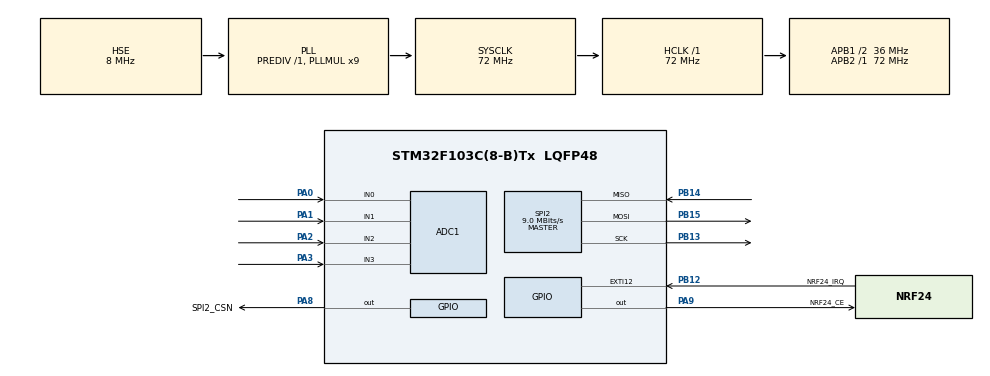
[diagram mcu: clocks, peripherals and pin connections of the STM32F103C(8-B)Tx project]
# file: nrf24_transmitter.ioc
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ADC1.Channel-0\#ChannelRegularConversion=ADC_CHANNEL_0
ADC1.Channel-1\#ChannelRegularConversion=ADC_CHANNEL_1
ADC1.Channel-2\#ChannelRegularConversion=ADC_CHANNEL_2
ADC1.Channel-3\#ChannelRegularConversion=ADC_CHANNEL_3
ADC1.ContinuousConvMode=DISABLE
ADC1.ExternalTrigConv=ADC_EXTERNALTRIGCONV_T2_CC2
ADC1.NbrOfConversion=4
ADC1.NbrOfConversionFlag=1
ADC1.Rank-0\#ChannelRegularConversion=1
ADC1.Rank-1\#ChannelRegularConversion=2
ADC1.Rank-2\#ChannelRegularConversion=3
ADC1.Rank-3\#ChannelRegularConversion=4
ADC1.SamplingTime-0\#ChannelRegularConversion=ADC_SAMPLETIME_28CYCLES_5
ADC1.SamplingTime-1\#ChannelRegularConversion=ADC_SAMPLETIME_28CYCLES_5
ADC1.SamplingTime-2\#ChannelRegularConversion=ADC_SAMPLETIME_28CYCLES_5
ADC1.SamplingTime-3\#ChannelRegularConversion=ADC_SAMPLETIME_28CYCLES_5
ADC1.master=1
Dma.ADC1.0.Direction=DMA_PERIPH_TO_MEMORY
Dma.ADC1.0.Instance=DMA1_Channel1
Dma.ADC1.0.MemDataAlignment=DMA_MDATAALIGN_WORD
Dma.ADC1.0.MemInc=DMA_MINC_ENABLE
Dma.ADC1.0.Mode=DMA_CIRCULAR
Dma.ADC1.0.PeriphDataAlignment=DMA_PDATAALIGN_WORD
Dma.ADC1.0.PeriphInc=DMA_PINC_DISABLE
Dma.ADC1.0.Priority=DMA_PRIORITY_LOW
Dma.Request0=ADC1
Mcu.Family=STM32F1
Mcu.Name=STM32F103C(8-B)Tx
Mcu.Package=LQFP48
NVIC.DMA1_Channel1_IRQn=true\:0\:0\:false\:false\:true\:false\:true\:true
NVIC.EXTI15_10_IRQn=true\:0\:0\:false\:false\:true\:true\:true\:true
NVIC.PriorityGroup=NVIC_PRIORITYGROUP_4
NVIC.TIM2_IRQn=true\:0\:0\:false\:false\:true\:true\:true\:true
PA0-WKUP.Signal=ADCx_IN0
PA1.Signal=ADCx_IN1
PA13.Mode=Serial_Wire
PA13.Signal=SYS_JTMS-SWDIO
PA14.Mode=Serial_Wire
PA14.Signal=SYS_JTCK-SWCLK
PA2.Signal=ADCx_IN2
PA3.Signal=ADCx_IN3
PA8.GPIO_Label=SPI2_CSN
PA8.Signal=GPIO_Output
PA9.GPIO_Label=NRF24_CE
PA9.Signal=GPIO_Output
PB12.GPIO_Label=NRF24_IRQ
PB12.GPIO_ModeDefaultEXTI=GPIO_MODE_IT_FALLING
PB12.Signal=GPXTI12
PB13.Mode=Full_Duplex_Master
PB13.Signal=SPI2_SCK
PB14.Mode=Full_Duplex_Master
PB14.Signal=SPI2_MISO
PB15.Mode=Full_Duplex_Master
PB15.Signal=SPI2_MOSI
PD0-OSC_IN.Mode=HSE-External-Oscillator
PD0-OSC_IN.Signal=RCC_OSC_IN
PD1-OSC_OUT.Mode=HSE-External-Oscillator
PD1-OSC_OUT.Signal=RCC_OSC_OUT
ProjectManager.HeapSize=0x200
ProjectManager.StackSize=0x400
ProjectManager.TargetToolchain=STM32CubeIDE
RCC.ADCPresc=RCC_ADCPCLK2_DIV6
RCC.AHBFreq_Value=72000000
RCC.APB1CLKDivider=RCC_HCLK_DIV2
RCC.APB1Freq_Value=36000000
RCC.APB1TimFreq_Value=72000000
RCC.APB2Freq_Value=72000000
RCC.APB2TimFreq_Value=72000000
RCC.HCLKFreq_Value=72000000
RCC.PLLMUL=RCC_PLL_MUL9
RCC.PLLSourceVirtual=RCC_PLLSOURCE_HSE
RCC.SYSCLKFreq_VALUE=72000000
RCC.SYSCLKSource=RCC_SYSCLKSOURCE_PLLCLK
RCC.USBFreq_Value=72000000
SH.ADCx_IN0.0=ADC1_IN0,IN0
SH.ADCx_IN1.0=ADC1_IN1,IN1
SH.ADCx_IN2.0=ADC1_IN2,IN2
SH.ADCx_IN3.0=ADC1_IN3,IN3
SPI2.BaudRatePrescaler=SPI_BAUDRATEPRESCALER_4
SPI2.CalculateBaudRate=9.0 MBits/s
SPI2.Direction=SPI_DIRECTION_2LINES
SPI2.Mode=SPI_MODE_MASTER
SPI2.VirtualType=VM_MASTER
TIM2.Channel-PWM\ Generation2\ No\ Output=TIM_CHANNEL_2
TIM2.Period=4000-1
TIM2.Prescaler=72-1
TIM2.TIM_MasterOutputTrigger=TIM_TRGO_UPDATE
TIM2.TIM_MasterSlaveMode=TIM_MASTERSLAVEMODE_DISABLE
VP_TIM2_VS_ClockSourceINT.Mode=Internal
VP_TIM2_VS_no_output2.Mode=PWM Generation2 No Output
board=custom

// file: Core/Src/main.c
/* USER CODE BEGIN Header */
/**
  ******************************************************************************
  * @file           : main.c
  * @brief          : Main program body
  ******************************************************************************
  * @attention
  *
  * Copyright (c) 2025 STMicroelectronics.
  * All rights reserved.
  *
  * This software is licensed under terms that can be found in the LICENSE file
  * in the root directory of this software component.
  * If no LICENSE file comes with this software, it is provided AS-IS.
  *
  ******************************************************************************
  */
/* USER CODE END Header */
#include "main.h"
#include "adc.h"
#include "dma.h"
#include "spi.h"
#include "tim.h"
#include "gpio.h"

/* USER CODE BEGIN Includes */
#include "nrf24.h"
/* USER CODE END Includes */

/* USER CODE BEGIN PD */
#define JOYSTICK_DEADZONE 25
/* USER CODE END PD */

/* USER CODE BEGIN PV */
static uint8_t txSerialized[32];
volatile uint32_t adc_results[4];

//Hardcoded values for now
static uint16_t aileron_raw_min = 692;
static uint16_t aileron_raw_middle = 2158;
static uint16_t aileron_raw_max = 3562;
static uint16_t elevator_raw_min = 276;
static uint16_t elevator_raw_middle = 2047;
static uint16_t elevator_raw_max = 3562;
static uint16_t throttle_raw_min = 306;
static uint16_t throttle_raw_max = 3368;
static uint16_t rudder_raw_min = 581;
static uint16_t rudder_raw_middle = 2045;
static uint16_t rudder_raw_max = 3549;
/* USER CODE END PV */

void SystemClock_Config(void);
/* USER CODE BEGIN PFP */
uint16_t mapChannel(uint16_t raw, uint16_t min, uint16_t middle, uint16_t max, uint8_t is_throttle, uint8_t is_reversed);
/* USER CODE END PFP */

int main(void)
{

  /* MCU Configuration--------------------------------------------------------*/

  /* Reset of all peripherals, Initializes the Flash interface and the Systick. */
  HAL_Init();

  /* USER CODE BEGIN Init */
  for(int i = 0; i<32; i++) txSerialized[i] = i;
  /* USER CODE END Init */

  /* Configure the system clock */
  SystemClock_Config();

  /* Initialize all configured peripherals */
  MX_GPIO_Init();
  MX_DMA_Init();
  MX_SPI2_Init();
  MX_TIM2_Init();
  MX_ADC1_Init();
  /* USER CODE BEGIN 2 */
  HAL_ADCEx_Calibration_Start(&hadc1);
  HAL_ADC_Start_DMA(&hadc1, (uint32_t*)adc_results, 4);
  NRF24_Init(0);
  uint8_t status = NRF24_ReadReg(NRF24_REG_STATUS);
  uint8_t ch = NRF24_ReadReg(NRF24_REG_RF_CH);
  HAL_TIM_Base_Start_IT(&htim2);
  TIM2->CCR2 = 3900;	//Every ADC conversion starts 100us before transmitting
  HAL_TIM_PWM_Start(&htim2, TIM_CHANNEL_2);

  /* USER CODE END 2 */

  /* Infinite loop */
  while (1)
  {

    /* USER CODE BEGIN 3 */
	  volatile uint32_t ch0 = adc_results[0];
	  volatile uint32_t ch1 = adc_results[1];
	  volatile uint32_t ch2 = adc_results[2];
	  volatile uint32_t ch3 = adc_results[3];
  }
  /* USER CODE END 3 */
}

void SystemClock_Config(void)
{
  RCC_OscInitTypeDef RCC_OscInitStruct = {0};
  RCC_ClkInitTypeDef RCC_ClkInitStruct = {0};
  RCC_PeriphCLKInitTypeDef PeriphClkInit = {0};

  /** Initializes the RCC Oscillators according to the specified parameters
  * in the RCC_OscInitTypeDef structure.
  */
  RCC_OscInitStruct.OscillatorType = RCC_OSCILLATORTYPE_HSE;
  RCC_OscInitStruct.HSEState = RCC_HSE_ON;
  RCC_OscInitStruct.HSEPredivValue = RCC_HSE_PREDIV_DIV1;
  RCC_OscInitStruct.HSIState = RCC_HSI_ON;
  RCC_OscInitStruct.PLL.PLLState = RCC_PLL_ON;
  RCC_OscInitStruct.PLL.PLLSource = RCC_PLLSOURCE_HSE;
  RCC_OscInitStruct.PLL.PLLMUL = RCC_PLL_MUL9;
  if (HAL_RCC_OscConfig(&RCC_OscInitStruct) != HAL_OK)
  {
    Error_Handler();
  }

  /** Initializes the CPU, AHB and APB buses clocks
  */
  RCC_ClkInitStruct.ClockType = RCC_CLOCKTYPE_HCLK|RCC_CLOCKTYPE_SYSCLK
                              |RCC_CLOCKTYPE_PCLK1|RCC_CLOCKTYPE_PCLK2;
  RCC_ClkInitStruct.SYSCLKSource = RCC_SYSCLKSOURCE_PLLCLK;
  RCC_ClkInitStruct.AHBCLKDivider = RCC_SYSCLK_DIV1;
  RCC_ClkInitStruct.APB1CLKDivider = RCC_HCLK_DIV2;
  RCC_ClkInitStruct.APB2CLKDivider = RCC_HCLK_DIV1;

  if (HAL_RCC_ClockConfig(&RCC_ClkInitStruct, FLASH_LATENCY_2) != HAL_OK)
  {
    Error_Handler();
  }
  PeriphClkInit.PeriphClockSelection = RCC_PERIPHCLK_ADC;
  PeriphClkInit.AdcClockSelection = RCC_ADCPCLK2_DIV6;
  if (HAL_RCCEx_PeriphCLKConfig(&PeriphClkInit) != HAL_OK)
  {
    Error_Handler();
  }
}

/* USER CODE BEGIN 4 */
void HAL_TIM_PeriodElapsedCallback(TIM_HandleTypeDef *htim)
{
    if (htim->Instance == TIM2) {
        // This runs at 250 Hz
        uint32_t time = HAL_GetTick();
        //Serialize time MSB first
        txSerialized[0] = (time & 0xff000000) >> 24;
        txSerialized[1] = (time & 0x00ff0000) >> 16;
        txSerialized[2] = (time & 0x0000ff00) >> 8;
        txSerialized[3] = (time & 0x000000ff) >> 0;
        NRF24_Transmit_IT(txSerialized, 32);
    }
}
void HAL_ADC_ConvCpltCallback(ADC_HandleTypeDef* hadc)
{
	uint16_t aileron = mapChannel(adc_results[0], aileron_raw_min, aileron_raw_middle, aileron_raw_max, 0, 0);
	uint16_t elevator = mapChannel(adc_results[1], elevator_raw_min, elevator_raw_middle, elevator_raw_max, 0, 0);
	uint16_t throttle = mapChannel(adc_results[2], throttle_raw_min, throttle_raw_min, throttle_raw_max, 1, 0);
	uint16_t rudder = mapChannel(adc_results[3], rudder_raw_min, rudder_raw_middle, rudder_raw_max, 0, 0);
	//Serialize adc results MSB first
	txSerialized[4] = aileron >> 8;
	txSerialized[5] = aileron & 0xff;
	txSerialized[6] = elevator >> 8;
	txSerialized[7] = elevator & 0xff;
	txSerialized[8] = throttle >> 8;
	txSerialized[9] = throttle & 0xff;
	txSerialized[10] = rudder >> 8;
	txSerialized[11] = rudder & 0xff;
}
uint16_t mapChannel(uint16_t raw, uint16_t min, uint16_t middle, uint16_t max, uint8_t is_throttle, uint8_t is_reversed){
	if(min >= max || middle >= max) return 2048;
	if (raw <= min) raw = min;
	if (raw >= max) raw = max;
	uint16_t normalized = 0;
	if(is_throttle){
		uint16_t range = max-min;
		normalized = (uint32_t)(raw-min)*4095/range;
	} else {
		if(raw > middle-JOYSTICK_DEADZONE && raw <= middle+JOYSTICK_DEADZONE){
			//If inside deadzone
			return 2048;
		} else if(raw <= middle-JOYSTICK_DEADZONE){
			//Map linearly to lower half
			uint16_t range = middle-min-JOYSTICK_DEADZONE;
			normalized = (uint32_t)(raw-min)*2048/range;
		} else{
			//Map linearly to upper half
			uint16_t range = max-middle-JOYSTICK_DEADZONE;
			normalized = 2047+(uint32_t)(raw-middle-JOYSTICK_DEADZONE)*2048/range;
		}
	}
	if(is_reversed){
		normalized = 4095 - normalized;
	}
	return (uint16_t)normalized;
}
/* USER CODE END 4 */

void Error_Handler(void)
{
  __disable_irq();
  while (1)
  {
  }
}
